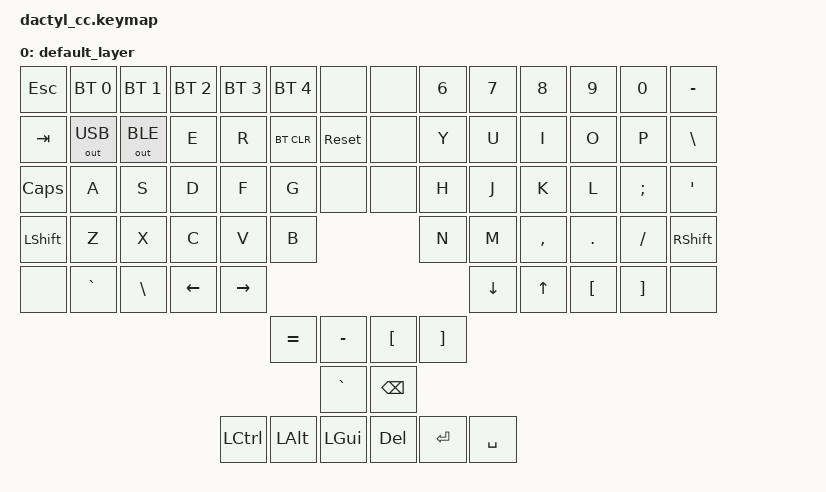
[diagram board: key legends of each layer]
#include <behaviors.dtsi>
#include <dt-bindings/zmk/keys.h>
#include <dt-bindings/zmk/bt.h>
#include <dt-bindings/zmk/outputs.h>

/ {
    keymap {
        compatible = "zmk,keymap";
//&kp ESC       &kp N1        &kp N2        &kp N3        &kp N4        &kp N5    &none                   &none   &kp N6        &kp N7        &kp N8        &kp N9        &kp N0        &kp MINUS
//&kp TAB       &kp Q         &kp W         &kp E         &kp R         &kp T     &none                   &none   &kp Y         &kp U         &kp I         &kp O         &kp P         &kp BSLH
        default_layer {
            bindings = <
&kp ESC       &bt BT_SEL 0  &bt BT_SEL 1  &bt BT_SEL 2  &bt BT_SEL 3  &bt BT_SEL 4  &none               &none   &kp N6        &kp N7        &kp N8        &kp N9        &kp N0        &kp MINUS
&kp TAB       &out OUT_USB  &out OUT_BLE  &kp E         &kp R         &bt BT_CLR    &sys_reset          &none   &kp Y         &kp U         &kp I         &kp O         &kp P         &kp BSLH
&kp CAPS      &kp A         &kp S         &kp D         &kp F         &kp G     &none                   &none   &kp H         &kp J         &kp K         &kp L         &kp SEMI      &kp SQT
&kp LSHFT     &kp Z         &kp X         &kp C         &kp V         &kp B                                     &kp N         &kp M         &kp COMMA     &kp DOT       &kp FSLH      &kp RSHFT
&none         &kp GRAVE     &kp BSLH      &kp LEFT      &kp RIGHT                                                             &kp DOWN      &kp UP        &kp LBKT      &kp RBKT      &none
                                                                      &kp EQUAL     &kp MINUS   &kp LBKT      &kp RBKT
                                                                                    &kp GRAVE   &kp BSPC
                                                        &kp LCTRL     &kp LALT      &kp LGUI    &kp DEL       &kp RETURN       &kp SPACE
            >;
        };
    };
};
